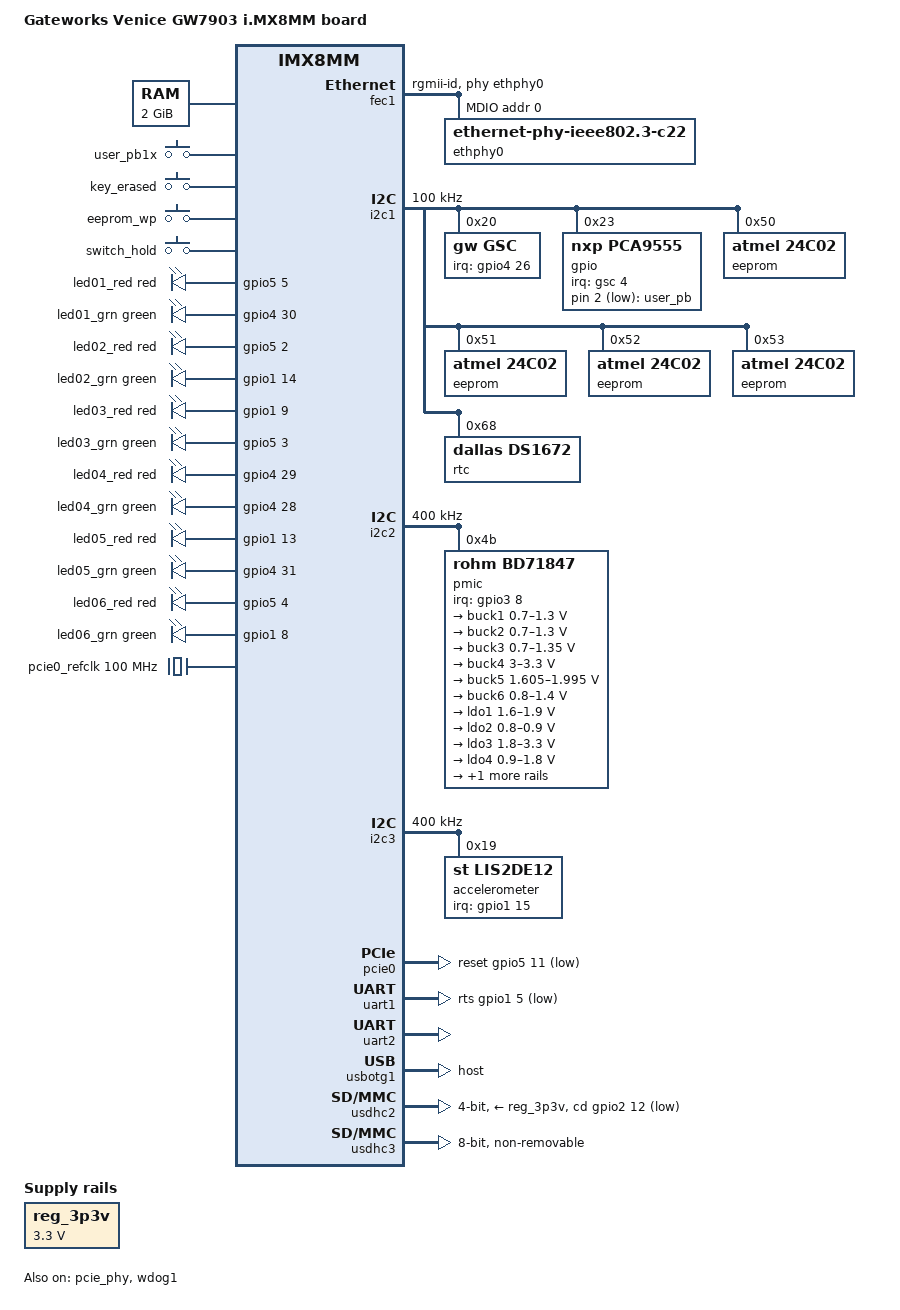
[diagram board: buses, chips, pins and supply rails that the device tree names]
// SPDX-License-Identifier: (GPL-2.0+ OR MIT)
/*
 * Copyright 2022 Gateworks Corporation
 */

/dts-v1/;

#include <dt-bindings/gpio/gpio.h>
#include <dt-bindings/input/linux-event-codes.h>
#include <dt-bindings/leds/common.h>
#include <dt-bindings/phy/phy-imx8-pcie.h>

#include "imx8mm.dtsi"

/ {
	model = "Gateworks Venice GW7903 i.MX8MM board";
	compatible = "gw,imx8mm-gw7903", "fsl,imx8mm";

	aliases {
		ethernet0 = &fec1;
		usb0 = &usbotg1;
	};

	chosen {
		stdout-path = &uart2;
	};

	memory@40000000 {
		device_type = "memory";
		reg = <0x0 0x40000000 0 0x80000000>;
	};

	gpio-keys {
		compatible = "gpio-keys";

		user-pb {
			label = "user_pb";
			gpios = <&gpio 2 GPIO_ACTIVE_LOW>;
			linux,code = <BTN_0>;
		};

		user-pb1x {
			label = "user_pb1x";
			linux,code = <BTN_1>;
			interrupt-parent = <&gsc>;
			interrupts = <0>;
		};

		key-erased {
			label = "key_erased";
			linux,code = <BTN_2>;
			interrupt-parent = <&gsc>;
			interrupts = <1>;
		};

		eeprom-wp {
			label = "eeprom_wp";
			linux,code = <BTN_3>;
			interrupt-parent = <&gsc>;
			interrupts = <2>;
		};

		switch-hold {
			label = "switch_hold";
			linux,code = <BTN_5>;
			interrupt-parent = <&gsc>;
			interrupts = <7>;
		};
	};

	led-controller {
		compatible = "gpio-leds";
		pinctrl-names = "default";
		pinctrl-0 = <&pinctrl_gpio_leds>;

		led-0 {
			function = LED_FUNCTION_STATUS;
			color = <LED_COLOR_ID_RED>;
			label = "led01_red";
			gpios = <&gpio5 5 GPIO_ACTIVE_HIGH>;
			default-state = "off";
		};

		led-1 {
			function = LED_FUNCTION_STATUS;
			color = <LED_COLOR_ID_GREEN>;
			label = "led01_grn";
			gpios = <&gpio4 30 GPIO_ACTIVE_HIGH>;
			default-state = "off";
		};

		led-2 {
			function = LED_FUNCTION_STATUS;
			color = <LED_COLOR_ID_RED>;
			label = "led02_red";
			gpios = <&gpio5 2 GPIO_ACTIVE_HIGH>;
			default-state = "off";
		};

		led-3 {
			function = LED_FUNCTION_STATUS;
			color = <LED_COLOR_ID_GREEN>;
			label = "led02_grn";
			gpios = <&gpio1 14 GPIO_ACTIVE_HIGH>;
			default-state = "off";
		};

		led-4 {
			function = LED_FUNCTION_STATUS;
			color = <LED_COLOR_ID_RED>;
			label = "led03_red";
			gpios = <&gpio1 9 GPIO_ACTIVE_HIGH>;
			default-state = "off";
		};

		led-5 {
			function = LED_FUNCTION_STATUS;
			color = <LED_COLOR_ID_GREEN>;
			label = "led03_grn";
			gpios = <&gpio5 3 GPIO_ACTIVE_HIGH>;
			default-state = "off";
		};

		led-6 {
			function = LED_FUNCTION_STATUS;
			color = <LED_COLOR_ID_RED>;
			label = "led04_red";
			gpios = <&gpio4 29 GPIO_ACTIVE_HIGH>;
			default-state = "off";
		};

		led-7 {
			function = LED_FUNCTION_STATUS;
			color = <LED_COLOR_ID_GREEN>;
			label = "led04_grn";
			gpios = <&gpio4 28 GPIO_ACTIVE_HIGH>;
			default-state = "off";
		};

		led-8 {
			function = LED_FUNCTION_STATUS;
			color = <LED_COLOR_ID_RED>;
			label = "led05_red";
			gpios = <&gpio1 13 GPIO_ACTIVE_HIGH>;
			default-state = "off";
		};

		led-9 {
			function = LED_FUNCTION_STATUS;
			color = <LED_COLOR_ID_GREEN>;
			label = "led05_grn";
			gpios = <&gpio4 31 GPIO_ACTIVE_HIGH>;
			default-state = "off";
		};

		led-a {
			function = LED_FUNCTION_STATUS;
			color = <LED_COLOR_ID_RED>;
			label = "led06_red";
			gpios = <&gpio5 4 GPIO_ACTIVE_HIGH>;
			default-state = "off";
		};

		led-b {
			function = LED_FUNCTION_STATUS;
			color = <LED_COLOR_ID_GREEN>;
			label = "led06_grn";
			gpios = <&gpio1 8 GPIO_ACTIVE_HIGH>;
			default-state = "off";
		};
	};

	pcie0_refclk: pcie0-refclk {
		compatible = "fixed-clock";
		#clock-cells = <0>;
		clock-frequency = <100000000>;
	};

	reg_3p3v: regulator-3p3v {
		compatible = "regulator-fixed";
		regulator-name = "3P3V";
		regulator-min-microvolt = <3300000>;
		regulator-max-microvolt = <3300000>;
		regulator-always-on;
	};
};

&A53_0 {
	cpu-supply = <&buck2>;
};

&A53_1 {
	cpu-supply = <&buck2>;
};

&A53_2 {
	cpu-supply = <&buck2>;
};

&A53_3 {
	cpu-supply = <&buck2>;
};

&ddrc {
	operating-points-v2 = <&ddrc_opp_table>;

	ddrc_opp_table: opp-table {
		compatible = "operating-points-v2";

		opp-25M {
			opp-hz = /bits/ 64 <25000000>;
		};

		opp-100M {
			opp-hz = /bits/ 64 <100000000>;
		};

		opp-750M {
			opp-hz = /bits/ 64 <750000000>;
		};
	};
};

&fec1 {
	pinctrl-names = "default";
	pinctrl-0 = <&pinctrl_fec1>;
	phy-mode = "rgmii-id";
	phy-handle = <&ethphy0>;
	local-mac-address = [00 00 00 00 00 00];
	status = "okay";

	mdio {
		#address-cells = <1>;
		#size-cells = <0>;

		ethphy0: ethernet-phy@0 {
			compatible = "ethernet-phy-ieee802.3-c22";
			reg = <0>;
			rx-internal-delay-ps = <2000>;
			tx-internal-delay-ps = <2500>;
		};
	};
};

&gpio1 {
	gpio-line-names = "", "", "", "", "", "", "", "",
		"", "", "rs422_en#", "rs485_en#", "rs232_en#", "", "", "",
		"", "", "", "", "", "", "", "",
		"", "", "", "", "", "", "", "";
};

&gpio2 {
	gpio-line-names = "dig2_in", "dig2_out#", "", "", "", "", "", "",
		"dig1_out#", "dig1_in", "", "", "", "", "", "",
		"", "", "", "", "", "", "", "",
		"", "", "", "", "", "", "", "";
};

&gpio5 {
	gpio-line-names = "", "", "", "", "", "", "", "sim1_det#",
		"sim2_det#", "sim2_sel", "", "", "pci_wdis#", "", "", "",
		"", "", "", "", "", "", "", "",
		"", "", "", "", "", "", "", "";
};

&i2c1 {
	clock-frequency = <100000>;
	pinctrl-names = "default";
	pinctrl-0 = <&pinctrl_i2c1>;
	status = "okay";

	gsc: gsc@20 {
		compatible = "gw,gsc";
		reg = <0x20>;
		pinctrl-0 = <&pinctrl_gsc>;
		interrupt-parent = <&gpio4>;
		interrupts = <26 IRQ_TYPE_EDGE_FALLING>;
		interrupt-controller;
		#interrupt-cells = <1>;

		adc {
			compatible = "gw,gsc-adc";
			#address-cells = <1>;
			#size-cells = <0>;

			channel@6 {
				gw,mode = <0>;
				reg = <0x06>;
				label = "temp";
			};

			channel@8 {
				gw,mode = <1>;
				reg = <0x08>;
				label = "vdd_bat";
			};

			channel@82 {
				gw,mode = <2>;
				reg = <0x82>;
				label = "vin";
				gw,voltage-divider-ohms = <22100 1000>;
				gw,voltage-offset-microvolt = <700000>;
			};

			channel@84 {
				gw,mode = <2>;
				reg = <0x84>;
				label = "vdd_5p0";
				gw,voltage-divider-ohms = <10000 10000>;
			};

			channel@86 {
				gw,mode = <2>;
				reg = <0x86>;
				label = "vdd_3p3";
				gw,voltage-divider-ohms = <10000 10000>;
			};

			channel@88 {
				gw,mode = <2>;
				reg = <0x88>;
				label = "vdd_0p9";
			};

			channel@8c {
				gw,mode = <2>;
				reg = <0x8c>;
				label = "vdd_soc";
			};

			channel@8e {
				gw,mode = <2>;
				reg = <0x8e>;
				label = "vdd_arm";
			};

			channel@90 {
				gw,mode = <2>;
				reg = <0x90>;
				label = "vdd_1p8";
			};

			channel@92 {
				gw,mode = <2>;
				reg = <0x92>;
				label = "vdd_dram";
			};

			channel@a2 {
				gw,mode = <2>;
				reg = <0xa2>;
				label = "vdd_gsc";
				gw,voltage-divider-ohms = <10000 10000>;
			};
		};
	};

	gpio: gpio@23 {
		compatible = "nxp,pca9555";
		reg = <0x23>;
		gpio-controller;
		#gpio-cells = <2>;
		interrupt-parent = <&gsc>;
		interrupts = <4>;
	};

	eeprom@50 {
		compatible = "atmel,24c02";
		reg = <0x50>;
		pagesize = <16>;
	};

	eeprom@51 {
		compatible = "atmel,24c02";
		reg = <0x51>;
		pagesize = <16>;
	};

	eeprom@52 {
		compatible = "atmel,24c02";
		reg = <0x52>;
		pagesize = <16>;
	};

	eeprom@53 {
		compatible = "atmel,24c02";
		reg = <0x53>;
		pagesize = <16>;
	};

	rtc@68 {
		compatible = "dallas,ds1672";
		reg = <0x68>;
	};
};

&i2c2 {
	clock-frequency = <400000>;
	pinctrl-names = "default";
	pinctrl-0 = <&pinctrl_i2c2>;
	status = "okay";

	pmic@4b {
		compatible = "rohm,bd71847";
		reg = <0x4b>;
		pinctrl-names = "default";
		pinctrl-0 = <&pinctrl_pmic>;
		interrupt-parent = <&gpio3>;
		interrupts = <8 IRQ_TYPE_LEVEL_LOW>;
		rohm,reset-snvs-powered;
		#clock-cells = <0>;
		clocks = <&osc_32k 0>;
		clock-output-names = "clk-32k-out";

		regulators {
			/* vdd_soc: 0.805-0.900V (typ=0.8V) */
			BUCK1 {
				regulator-name = "buck1";
				regulator-min-microvolt = <700000>;
				regulator-max-microvolt = <1300000>;
				regulator-boot-on;
				regulator-always-on;
				regulator-ramp-delay = <1250>;
			};

			/* vdd_arm: 0.805-1.0V (typ=0.9V) */
			buck2: BUCK2 {
				regulator-name = "buck2";
				regulator-min-microvolt = <700000>;
				regulator-max-microvolt = <1300000>;
				regulator-boot-on;
				regulator-always-on;
				regulator-ramp-delay = <1250>;
				rohm,dvs-run-voltage = <1000000>;
				rohm,dvs-idle-voltage = <900000>;
			};

			/* vdd_0p9: 0.805-1.0V (typ=0.9V) */
			BUCK3 {
				regulator-name = "buck3";
				regulator-min-microvolt = <700000>;
				regulator-max-microvolt = <1350000>;
				regulator-boot-on;
				regulator-always-on;
			};

			/* vdd_3p3 */
			BUCK4 {
				regulator-name = "buck4";
				regulator-min-microvolt = <3000000>;
				regulator-max-microvolt = <3300000>;
				regulator-boot-on;
				regulator-always-on;
			};

			/* vdd_1p8 */
			BUCK5 {
				regulator-name = "buck5";
				regulator-min-microvolt = <1605000>;
				regulator-max-microvolt = <1995000>;
				regulator-boot-on;
				regulator-always-on;
			};

			/* vdd_dram */
			BUCK6 {
				regulator-name = "buck6";
				regulator-min-microvolt = <800000>;
				regulator-max-microvolt = <1400000>;
				regulator-boot-on;
				regulator-always-on;
			};

			/* nvcc_snvs_1p8 */
			LDO1 {
				regulator-name = "ldo1";
				regulator-min-microvolt = <1600000>;
				regulator-max-microvolt = <1900000>;
				regulator-boot-on;
				regulator-always-on;
			};

			/* vdd_snvs_0p8 */
			LDO2 {
				regulator-name = "ldo2";
				regulator-min-microvolt = <800000>;
				regulator-max-microvolt = <900000>;
				regulator-boot-on;
				regulator-always-on;
			};

			/* vdda_1p8 */
			LDO3 {
				regulator-name = "ldo3";
				regulator-min-microvolt = <1800000>;
				regulator-max-microvolt = <3300000>;
				regulator-boot-on;
				regulator-always-on;
			};

			LDO4 {
				regulator-name = "ldo4";
				regulator-min-microvolt = <900000>;
				regulator-max-microvolt = <1800000>;
				regulator-boot-on;
				regulator-always-on;
			};

			LDO6 {
				regulator-name = "ldo6";
				regulator-min-microvolt = <900000>;
				regulator-max-microvolt = <1800000>;
				regulator-boot-on;
				regulator-always-on;
			};
		};
	};
};

&i2c3 {
	clock-frequency = <400000>;
	pinctrl-names = "default";
	pinctrl-0 = <&pinctrl_i2c3>;
	status = "okay";

	accelerometer@19 {
		pinctrl-names = "default";
		pinctrl-0 = <&pinctrl_accel>;
		compatible = "st,lis2de12";
		reg = <0x19>;
		st,drdy-int-pin = <1>;
		interrupt-parent = <&gpio1>;
		interrupts = <15 IRQ_TYPE_LEVEL_LOW>;
		interrupt-names = "INT1";
	};
};

&pcie_phy {
	fsl,refclk-pad-mode = <IMX8_PCIE_REFCLK_PAD_INPUT>;
	fsl,clkreq-unsupported;
	clocks = <&pcie0_refclk>;
	clock-names = "ref";
	status = "okay";
};

&pcie0 {
	pinctrl-names = "default";
	pinctrl-0 = <&pinctrl_pcie0>;
	reset-gpio = <&gpio5 11 GPIO_ACTIVE_LOW>;
	clocks = <&clk IMX8MM_CLK_PCIE1_ROOT>, <&clk IMX8MM_CLK_PCIE1_AUX>,
		 <&pcie0_refclk>;
	clock-names = "pcie", "pcie_aux", "pcie_bus";
	assigned-clocks = <&clk IMX8MM_CLK_PCIE1_AUX>,
			  <&clk IMX8MM_CLK_PCIE1_CTRL>;
	assigned-clock-rates = <10000000>, <250000000>;
	assigned-clock-parents = <&clk IMX8MM_SYS_PLL2_50M>,
				 <&clk IMX8MM_SYS_PLL2_250M>;
	status = "okay";
};

&pgc_mipi {
	status = "disabled";
};

/* off-board RS232/RS485/RS422 */
&uart1 {
	pinctrl-names = "default";
	pinctrl-0 = <&pinctrl_uart1>;
	cts-gpios = <&gpio1 3 GPIO_ACTIVE_LOW>;
	rts-gpios = <&gpio1 5 GPIO_ACTIVE_LOW>;
	dtr-gpios = <&gpio1 0 GPIO_ACTIVE_LOW>;
	dsr-gpios = <&gpio1 1 GPIO_ACTIVE_LOW>;
	dcd-gpios = <&gpio3 24 GPIO_ACTIVE_LOW>;
	uart-has-rtscts;
	status = "okay";
};

/* console */
&uart2 {
	pinctrl-names = "default";
	pinctrl-0 = <&pinctrl_uart2>;
	status = "okay";
};

&usbotg1 {
	dr_mode = "host";
	disable-over-current;
	status = "okay";
};

/* microSD */
&usdhc2 {
	pinctrl-names = "default", "state_100mhz", "state_200mhz";
	pinctrl-0 = <&pinctrl_usdhc2>, <&pinctrl_usdhc2_gpio>;
	pinctrl-1 = <&pinctrl_usdhc2_100mhz>, <&pinctrl_usdhc2_gpio>;
	pinctrl-2 = <&pinctrl_usdhc2_200mhz>, <&pinctrl_usdhc2_gpio>;
	cd-gpios = <&gpio2 12 GPIO_ACTIVE_LOW>;
	bus-width = <4>;
	vmmc-supply = <&reg_3p3v>;
	status = "okay";
};

/* eMMC */
&usdhc3 {
	pinctrl-names = "default", "state_100mhz", "state_200mhz";
	pinctrl-0 = <&pinctrl_usdhc3>;
	pinctrl-1 = <&pinctrl_usdhc3_100mhz>;
	pinctrl-2 = <&pinctrl_usdhc3_200mhz>;
	bus-width = <8>;
	non-removable;
	status = "okay";
};

&wdog1 {
	pinctrl-names = "default";
	pinctrl-0 = <&pinctrl_wdog>;
	fsl,ext-reset-output;
	status = "okay";
};

&iomuxc {
	pinctrl-names = "default";
	pinctrl-0 = <&pinctrl_hog>;

	pinctrl_hog: hoggrp {
		fsl,pins = <
			MX8MM_IOMUXC_GPIO1_IO10_GPIO1_IO10	0x40000041 /* RS422# */
			MX8MM_IOMUXC_GPIO1_IO11_GPIO1_IO11	0x40000041 /* RS485# */
			MX8MM_IOMUXC_GPIO1_IO12_GPIO1_IO12	0x40000041 /* RS232# */
			MX8MM_IOMUXC_SD1_DATA7_GPIO2_IO9	0x40000041 /* DIG1_IN */
			MX8MM_IOMUXC_SD1_DATA6_GPIO2_IO8	0x40000041 /* DIG1_OUT */
			MX8MM_IOMUXC_SD1_CLK_GPIO2_IO0		0x40000041 /* DIG2_IN */
			MX8MM_IOMUXC_SD1_CMD_GPIO2_IO1		0x40000041 /* DIG2_OUT */
			MX8MM_IOMUXC_ECSPI1_MOSI_GPIO5_IO7	0x40000041 /* SIM1DET# */
			MX8MM_IOMUXC_ECSPI1_MISO_GPIO5_IO8	0x40000041 /* SIM2DET# */
			MX8MM_IOMUXC_ECSPI1_SS0_GPIO5_IO9	0x40000041 /* SIM2SEL */
			MX8MM_IOMUXC_ECSPI2_MISO_GPIO5_IO12	0x40000041 /* PCI_WDIS# */
		>;
	};

	pinctrl_accel: accelgrp {
		fsl,pins = <
			MX8MM_IOMUXC_GPIO1_IO15_GPIO1_IO15	0x159
		>;
	};

	pinctrl_fec1: fec1grp {
		fsl,pins = <
			MX8MM_IOMUXC_ENET_MDC_ENET1_MDC			0x3
			MX8MM_IOMUXC_ENET_MDIO_ENET1_MDIO		0x3
			MX8MM_IOMUXC_ENET_TD3_ENET1_RGMII_TD3		0x1f
			MX8MM_IOMUXC_ENET_TD2_ENET1_RGMII_TD2		0x1f
			MX8MM_IOMUXC_ENET_TD1_ENET1_RGMII_TD1		0x1f
			MX8MM_IOMUXC_ENET_TD0_ENET1_RGMII_TD0		0x1f
			MX8MM_IOMUXC_ENET_RD3_ENET1_RGMII_RD3		0x91
			MX8MM_IOMUXC_ENET_RD2_ENET1_RGMII_RD2		0x91
			MX8MM_IOMUXC_ENET_RD1_ENET1_RGMII_RD1		0x91
			MX8MM_IOMUXC_ENET_RD0_ENET1_RGMII_RD0		0x91
			MX8MM_IOMUXC_ENET_TXC_ENET1_RGMII_TXC		0x1f
			MX8MM_IOMUXC_ENET_RXC_ENET1_RGMII_RXC		0x91
			MX8MM_IOMUXC_ENET_RX_CTL_ENET1_RGMII_RX_CTL	0x91
			MX8MM_IOMUXC_ENET_TX_CTL_ENET1_RGMII_TX_CTL	0x1f
			MX8MM_IOMUXC_SAI2_TXFS_GPIO4_IO24		0x19 /* IRQ# */
			MX8MM_IOMUXC_SAI2_TXC_GPIO4_IO25		0x19 /* RST# */
		>;
	};

	pinctrl_gsc: gscgrp {
		fsl,pins = <
			MX8MM_IOMUXC_SAI2_TXD0_GPIO4_IO26	0x159
		>;
	};

	pinctrl_i2c1: i2c1grp {
		fsl,pins = <
			MX8MM_IOMUXC_I2C1_SCL_I2C1_SCL		0x400001c3
			MX8MM_IOMUXC_I2C1_SDA_I2C1_SDA		0x400001c3
		>;
	};

	pinctrl_i2c2: i2c2grp {
		fsl,pins = <
			MX8MM_IOMUXC_I2C2_SCL_I2C2_SCL		0x400001c3
			MX8MM_IOMUXC_I2C2_SDA_I2C2_SDA		0x400001c3
		>;
	};

	pinctrl_i2c3: i2c3grp {
		fsl,pins = <
			MX8MM_IOMUXC_I2C3_SCL_I2C3_SCL		0x400001c3
			MX8MM_IOMUXC_I2C3_SDA_I2C3_SDA		0x400001c3
		>;
	};

	pinctrl_gpio_leds: gpioledgrp {
		fsl,pins = <
			MX8MM_IOMUXC_SPDIF_EXT_CLK_GPIO5_IO5	0x19
			MX8MM_IOMUXC_SAI3_RXD_GPIO4_IO30	0x19
			MX8MM_IOMUXC_SAI3_MCLK_GPIO5_IO2	0x19
			MX8MM_IOMUXC_GPIO1_IO14_GPIO1_IO14	0x19
			MX8MM_IOMUXC_GPIO1_IO09_GPIO1_IO9	0x19
			MX8MM_IOMUXC_SPDIF_TX_GPIO5_IO3		0x19
			MX8MM_IOMUXC_SAI3_RXC_GPIO4_IO29	0x19
			MX8MM_IOMUXC_SAI3_RXFS_GPIO4_IO28	0x19
			MX8MM_IOMUXC_GPIO1_IO13_GPIO1_IO13	0x19
			MX8MM_IOMUXC_SAI3_TXFS_GPIO4_IO31	0x19
			MX8MM_IOMUXC_SPDIF_RX_GPIO5_IO4		0x19
			MX8MM_IOMUXC_GPIO1_IO08_GPIO1_IO8	0x19
		>;
	};

	pinctrl_pcie0: pciegrp {
		fsl,pins = <
			MX8MM_IOMUXC_ECSPI2_MOSI_GPIO5_IO11	0x41
		>;
	};

	pinctrl_pmic: pmicgrp {
		fsl,pins = <
			MX8MM_IOMUXC_NAND_DATA02_GPIO3_IO8	0x41
		>;
	};

	pinctrl_uart1: uart1grp {
		fsl,pins = <
			MX8MM_IOMUXC_UART1_RXD_UART1_DCE_RX	0x140
			MX8MM_IOMUXC_UART1_TXD_UART1_DCE_TX	0x140
			MX8MM_IOMUXC_GPIO1_IO00_GPIO1_IO0	0x140
			MX8MM_IOMUXC_GPIO1_IO01_GPIO1_IO1	0x140
			MX8MM_IOMUXC_GPIO1_IO03_GPIO1_IO3	0x140
			MX8MM_IOMUXC_GPIO1_IO05_GPIO1_IO5	0x140
			MX8MM_IOMUXC_SAI5_RXD3_GPIO3_IO24	0x140
		>;
	};

	pinctrl_uart2: uart2grp {
		fsl,pins = <
			MX8MM_IOMUXC_UART2_RXD_UART2_DCE_RX	0x140
			MX8MM_IOMUXC_UART2_TXD_UART2_DCE_TX	0x140
		>;
	};

	pinctrl_usdhc2: usdhc2grp {
		fsl,pins = <
			MX8MM_IOMUXC_SD2_CLK_USDHC2_CLK		0x190
			MX8MM_IOMUXC_SD2_CMD_USDHC2_CMD		0x1d0
			MX8MM_IOMUXC_SD2_DATA0_USDHC2_DATA0	0x1d0
			MX8MM_IOMUXC_SD2_DATA1_USDHC2_DATA1	0x1d0
			MX8MM_IOMUXC_SD2_DATA2_USDHC2_DATA2	0x1d0
			MX8MM_IOMUXC_SD2_DATA3_USDHC2_DATA3	0x1d0
		>;
	};

	pinctrl_usdhc2_100mhz: usdhc2-100mhzgrp {
		fsl,pins = <
			MX8MM_IOMUXC_SD2_CLK_USDHC2_CLK		0x194
			MX8MM_IOMUXC_SD2_CMD_USDHC2_CMD		0x1d4
			MX8MM_IOMUXC_SD2_DATA0_USDHC2_DATA0	0x1d4
			MX8MM_IOMUXC_SD2_DATA1_USDHC2_DATA1	0x1d4
			MX8MM_IOMUXC_SD2_DATA2_USDHC2_DATA2	0x1d4
			MX8MM_IOMUXC_SD2_DATA3_USDHC2_DATA3	0x1d4
		>;
	};

	pinctrl_usdhc2_200mhz: usdhc2-200mhzgrp {
		fsl,pins = <
			MX8MM_IOMUXC_SD2_CLK_USDHC2_CLK		0x196
			MX8MM_IOMUXC_SD2_CMD_USDHC2_CMD		0x1d6
			MX8MM_IOMUXC_SD2_DATA0_USDHC2_DATA0	0x1d6
			MX8MM_IOMUXC_SD2_DATA1_USDHC2_DATA1	0x1d6
			MX8MM_IOMUXC_SD2_DATA2_USDHC2_DATA2	0x1d6
			MX8MM_IOMUXC_SD2_DATA3_USDHC2_DATA3	0x1d6
		>;
	};

	pinctrl_usdhc2_gpio: usdhc2-gpiogrp {
		fsl,pins = <
			MX8MM_IOMUXC_SD2_CD_B_GPIO2_IO12	0x1c4
			MX8MM_IOMUXC_GPIO1_IO04_USDHC2_VSELECT  0x1d0
		>;
	};

	pinctrl_usdhc3: usdhc3grp {
		fsl,pins = <
			MX8MM_IOMUXC_NAND_WE_B_USDHC3_CLK	0x190
			MX8MM_IOMUXC_NAND_WP_B_USDHC3_CMD	0x1d0
			MX8MM_IOMUXC_NAND_DATA04_USDHC3_DATA0	0x1d0
			MX8MM_IOMUXC_NAND_DATA05_USDHC3_DATA1	0x1d0
			MX8MM_IOMUXC_NAND_DATA06_USDHC3_DATA2	0x1d0
			MX8MM_IOMUXC_NAND_DATA07_USDHC3_DATA3	0x1d0
			MX8MM_IOMUXC_NAND_RE_B_USDHC3_DATA4	0x1d0
			MX8MM_IOMUXC_NAND_CE2_B_USDHC3_DATA5	0x1d0
			MX8MM_IOMUXC_NAND_CE3_B_USDHC3_DATA6	0x1d0
			MX8MM_IOMUXC_NAND_CLE_USDHC3_DATA7	0x1d0
			MX8MM_IOMUXC_NAND_CE1_B_USDHC3_STROBE	0x190
		>;
	};

	pinctrl_usdhc3_100mhz: usdhc3-100mhzgrp {
		fsl,pins = <
			MX8MM_IOMUXC_NAND_WE_B_USDHC3_CLK	0x194
			MX8MM_IOMUXC_NAND_WP_B_USDHC3_CMD	0x1d4
			MX8MM_IOMUXC_NAND_DATA04_USDHC3_DATA0	0x1d4
			MX8MM_IOMUXC_NAND_DATA05_USDHC3_DATA1	0x1d4
			MX8MM_IOMUXC_NAND_DATA06_USDHC3_DATA2	0x1d4
			MX8MM_IOMUXC_NAND_DATA07_USDHC3_DATA3	0x1d4
			MX8MM_IOMUXC_NAND_RE_B_USDHC3_DATA4	0x1d4
			MX8MM_IOMUXC_NAND_CE2_B_USDHC3_DATA5	0x1d4
			MX8MM_IOMUXC_NAND_CE3_B_USDHC3_DATA6	0x1d4
			MX8MM_IOMUXC_NAND_CLE_USDHC3_DATA7	0x1d4
			MX8MM_IOMUXC_NAND_CE1_B_USDHC3_STROBE	0x194
		>;
	};

	pinctrl_usdhc3_200mhz: usdhc3-200mhzgrp {
		fsl,pins = <
			MX8MM_IOMUXC_NAND_WE_B_USDHC3_CLK	0x196
			MX8MM_IOMUXC_NAND_WP_B_USDHC3_CMD	0x1d6
			MX8MM_IOMUXC_NAND_DATA04_USDHC3_DATA0	0x1d6
			MX8MM_IOMUXC_NAND_DATA05_USDHC3_DATA1	0x1d6
			MX8MM_IOMUXC_NAND_DATA06_USDHC3_DATA2	0x1d6
			MX8MM_IOMUXC_NAND_DATA07_USDHC3_DATA3	0x1d6
			MX8MM_IOMUXC_NAND_RE_B_USDHC3_DATA4	0x1d6
			MX8MM_IOMUXC_NAND_CE2_B_USDHC3_DATA5	0x1d6
			MX8MM_IOMUXC_NAND_CE3_B_USDHC3_DATA6	0x1d6
			MX8MM_IOMUXC_NAND_CLE_USDHC3_DATA7	0x1d6
			MX8MM_IOMUXC_NAND_CE1_B_USDHC3_STROBE	0x196
		>;
	};

	pinctrl_wdog: wdoggrp {
		fsl,pins = <
			MX8MM_IOMUXC_GPIO1_IO02_WDOG1_WDOG_B	0xc6
		>;
	};
};
